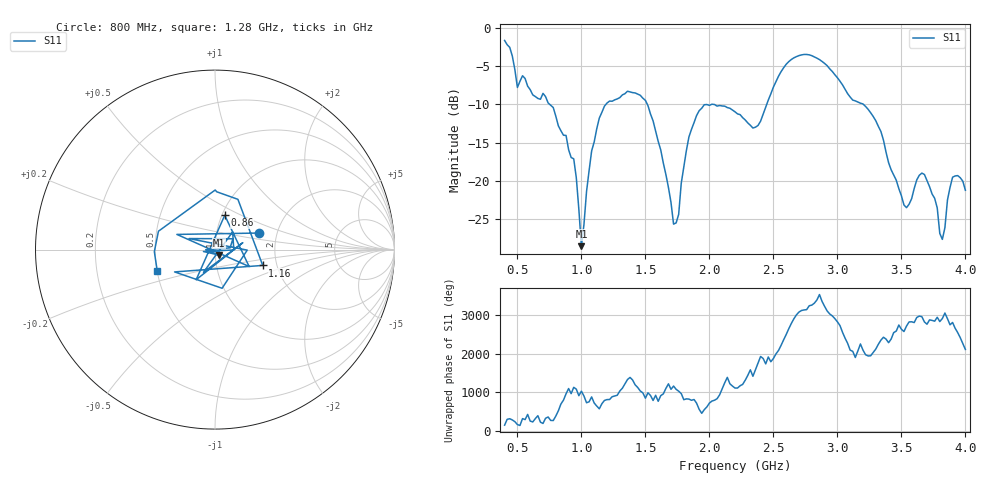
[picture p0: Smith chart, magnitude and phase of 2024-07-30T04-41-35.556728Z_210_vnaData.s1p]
!Created with skrf (http://scikit-rf.org).
# Hz S RI R 50.0
!freq ReS11 ImS11
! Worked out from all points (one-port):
!   181 points, 400 MHz to 4 GHz, reference 50 ohm
!   lowest |S11| = -28.6 dB at 1 GHz (marker M1), VSWR 1.08, Z = 52.1 - j3.16 ohm
!   |S11| at or under -10 dB: 751.7 MHz to 1.192 GHz (440 MHz wide, 45.3 % of centre); 1.515 GHz to 2.018 GHz (502.8 MHz wide, 28.5 % of centre); 3.203 GHz to end of sweep (the widest 3 of 4)
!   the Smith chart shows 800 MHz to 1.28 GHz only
!   S11 on the Smith chart (normalised r, x): 800 MHz: 1.62, +0.32; 860 MHz: 1.03, +0.41; 1.16 GHz: 1.69, -0.32; 1.28 GHz: 0.50, -0.13
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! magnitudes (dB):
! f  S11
! 400 MHz  -1.6
! 500 MHz  -7.8
! 540 MHz  -6.3
! 800 MHz  -11.6
! 860 MHz  -14.0
! 940 MHz  -17.1
! 1 GHz  -28.6
! 1.08 GHz  -16.1
! 1.16 GHz  -11.0
! 1.28 GHz  -9.3
! 1.3 GHz  -9.1
! 1.5 GHz  -9.5
! 1.62 GHz  -16.0
! 1.72 GHz  -25.7
! 1.76 GHz  -24.4
! 1.84 GHz  -14.3
! 1.92 GHz  -10.8
! 2.2 GHz  -11.0
! 2.38 GHz  -12.8
! 2.66 GHz  -3.9
! 2.86 GHz  -4.2
! 3.1 GHz  -9.1
! 3.3 GHz  -12.1
! 3.56 GHz  -23.1
! 3.68 GHz  -19.2
! 3.82 GHz  -27.7
! 3.9 GHz  -19.5
! 4 GHz  -21.2
